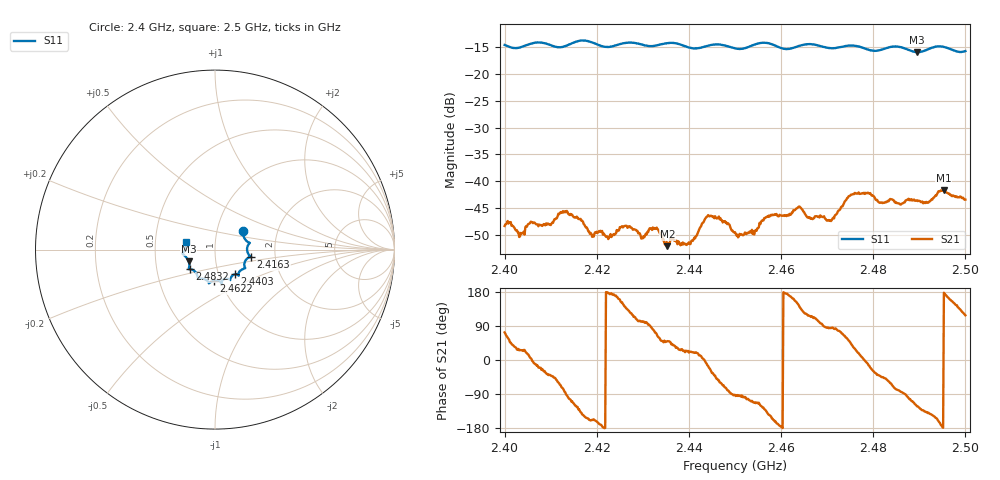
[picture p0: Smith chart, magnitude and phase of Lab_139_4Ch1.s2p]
# Hz S RI R 50
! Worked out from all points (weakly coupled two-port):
!   601 points, 2.4 GHz to 2.5 GHz, reference 50 ohm
!   highest |S21| = -41.67 dB at 2.4953 GHz (marker M1); lowest = -52.2 dB at 2.4353 GHz (marker M2)
!   lowest |S11| = -15.9 dB at 2.4895 GHz (marker M3), VSWR 1.38, Z = 36.9 - j4.99 ohm
!   |S11| at or under -10 dB: start of sweep to end of sweep
!   S12 and S22 are empty: the file has one direction only
!   S11 on the Smith chart (normalised r, x): 2.4 GHz: 1.33, +0.29; 2.4163 GHz: 1.50, -0.13; 2.4403 GHz: 1.20, -0.34; 2.4622 GHz: 0.93, -0.33; 2.4832 GHz: 0.74, -0.17; 2.5 GHz: 0.72, +0.06
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2.4e9  0.1559 0.1046  0.00112 0.00364  0 0  0 0
2.4035e9  0.1706 0.054  0.00294 0.00144  0 0  0 0
2.412667e9  0.1799 -0.00983  0.00134 -0.00508  0 0  0 0
2.416333e9  0.2015 -0.0417  -0.00308 -0.00314  0 0  0 0
2.416667e9  0.2022 -0.0424  -0.00324 -0.00277  0 0  0 0
2.422333e9  0.1661 -0.0687  -0.00304 7.15e-05  0 0  0 0
2.426e9  0.1674 -0.1007  -0.00298 0.00236  0 0  0 0
2.43e9  0.1528 -0.11  -0.000613 0.00286  0 0  0 0
2.433333e9  0.1309 -0.1341  0.00172 0.00307  0 0  0 0
2.435333e9  0.1313 -0.1444  0.00159 0.00189  0 0  0 0
2.440333e9  0.1103 -0.1375  0.0024 0.000939  0 0  0 0
2.444333e9  0.0848 -0.1653  0.00444 -0.00164  0 0  0 0
2.45e9  0.0643 -0.1622  -0.000125 -0.00333  0 0  0 0
2.462167e9  -0.00768 -0.1737  -0.00475 0.00114  0 0  0 0
2.466667e9  -0.0339 -0.1877  -0.0019 0.00403  0 0  0 0
2.471e9  -0.0586 -0.1647  0.000372 0.00431  0 0  0 0
2.475667e9  -0.0937 -0.1596  0.00628 0.00424  0 0  0 0
2.483167e9  -0.1392 -0.1094  0.00376 -0.00536  0 0  0 0
2.483333e9  -0.1403 -0.1094  0.00358 -0.00538  0 0  0 0
2.4895e9  -0.1465 -0.0658  -0.00353 -0.00559  0 0  0 0
2.495333e9  -0.179 -0.0183  -0.00824 0.00036  0 0  0 0
2.5e9  -0.1597 0.0397  -0.00315 0.00593  0 0  0 0
